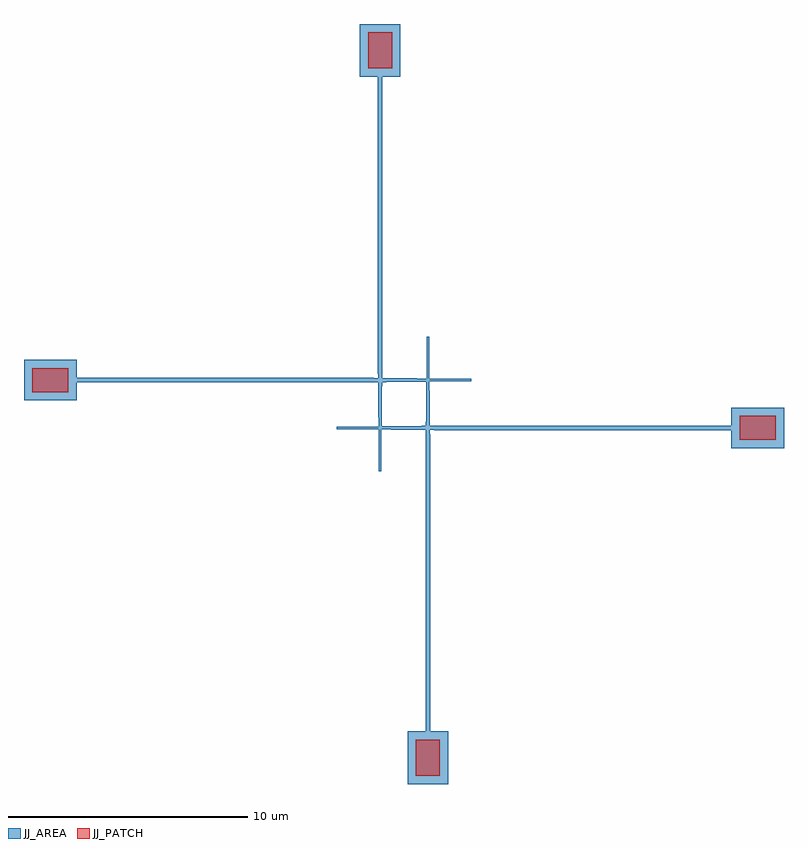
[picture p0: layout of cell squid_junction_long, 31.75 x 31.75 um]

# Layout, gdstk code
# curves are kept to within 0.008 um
from math import pi, radians
import gdstk
lib = gdstk.Library(unit=1e-6, precision=1e-09)
def R(c, l, rs):  # rectangles x0, y0, x1, y1
    for r in rs: c.add(gdstk.rectangle(r[:2], r[2:], *l))
def P(c, l, *ps):  # polygons
    for p in ps: c.add(gdstk.Polygon(p, *l))
JJ_AREA = (20, 0)
JJ_PATCH = (20, 1)

straight_l12_csjosephson = lib.new_cell('straight_L12_CSjosephson_junction_cross_section_wide_WNone_N2')
R(straight_l12_csjosephson, JJ_AREA, [(0,-0.1,12,0.1)])

taper_cross_section_gdsf = lib.new_cell('taper_cross_section_gdsfactorypcomponentsptapersptaper__1a505e43')
P(taper_cross_section_gdsf, JJ_AREA, [(0,-0.1),(0,0.1),(4.7,0.045),(4.7,-0.045)])

straight_l0p5_csjosephso = lib.new_cell('straight_L0p5_CSjosephson_junction_cross_section_narrow_WNone_N2')
R(straight_l0p5_csjosephso, JJ_AREA, [(0,-0.045,0.5,0.045)])

rectangle_gdsfactorypcom = lib.new_cell('rectangle_gdsfactorypcomponentspshapesprectangle_S1p5_1_4f32cade')
R(rectangle_gdsfactorypcom, JJ_PATCH, [(-0.75,-0.5,0.75,0.5)])

single_josephson_junctio = lib.new_cell('single_josephson_junction_wire_WSL12_NSL0p5_TL4p7_CSWjo_87b9008b')
R(single_josephson_junctio, JJ_AREA, [(-1.475,-0.85,0.725,0.85)])
single_josephson_junctio.add(gdstk.Reference(straight_l12_csjosephson, (0,0)))
single_josephson_junctio.add(gdstk.Reference(taper_cross_section_gdsf, (12,0)))
single_josephson_junctio.add(gdstk.Reference(straight_l0p5_csjosephso, (16.7,0)))
single_josephson_junctio.add(gdstk.Reference(rectangle_gdsfactorypcom, (-0.375,0)))

josephson_junction_long = lib.new_cell('josephson_junction_long')
josephson_junction_long.add(gdstk.Reference(single_josephson_junctio, (17.2,-15.4), rotation=pi/2))
josephson_junction_long.add(gdstk.Reference(single_josephson_junctio, (1.8,0)))

squid_junction_long = lib.new_cell('squid_junction_long')
squid_junction_long.add(gdstk.Reference(josephson_junction_long, (0,0)))
squid_junction_long.add(gdstk.Reference(josephson_junction_long, (32.4,-2), rotation=pi))

lib.write_gds('squid_junction_long.gds')
